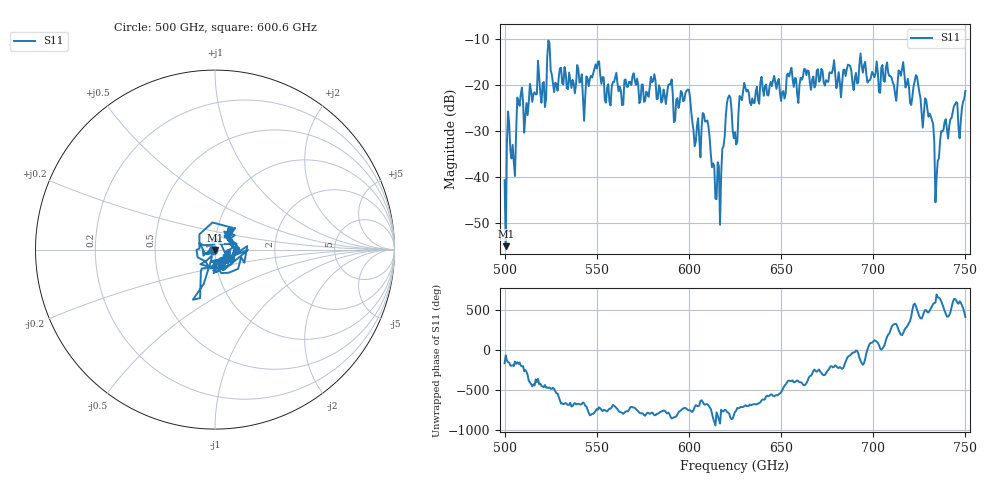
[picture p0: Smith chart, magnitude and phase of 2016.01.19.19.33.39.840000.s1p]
!Created with skrf (http://scikit-rf.org).
# GHz S RI R 50.0
!freq ReS11 ImS11
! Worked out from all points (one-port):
!   401 points, 500 GHz to 750 GHz, reference 50 ohm
!   lowest |S11| = -55.0 dB at 500.6 GHz (marker M1), VSWR 1.00, Z = 50.1 - j0.166 ohm
!   |S11| at or under -10 dB: start of sweep to end of sweep
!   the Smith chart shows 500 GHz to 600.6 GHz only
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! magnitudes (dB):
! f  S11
! 500 GHz  -40.7
! 500.6 GHz  -55.0
! 502.5 GHz  -28.5
! 505 GHz  -36.9
! 508.1 GHz  -24.5
! 521.2 GHz  -19.4
! 524.4 GHz  -11.0
! 527.5 GHz  -19.5
! 531.2 GHz  -19.6
! 543.8 GHz  -22.5
! 550 GHz  -16.4
! 562.5 GHz  -20.3
! 580.6 GHz  -19.1
! 593.8 GHz  -22.8
! 599.4 GHz  -21.0
! 605 GHz  -27.2
! 608.8 GHz  -27.9
! 615.6 GHz  -36.8
! 621.2 GHz  -22.8
! 625 GHz  -30.2
! 630.6 GHz  -20.5
! 656.2 GHz  -18.7
! 687.5 GHz  -15.9
! 718.8 GHz  -18.6
! 729.4 GHz  -25.3
! 734.4 GHz  -40.1
! 738.1 GHz  -29.7
! 750 GHz  -21.3
